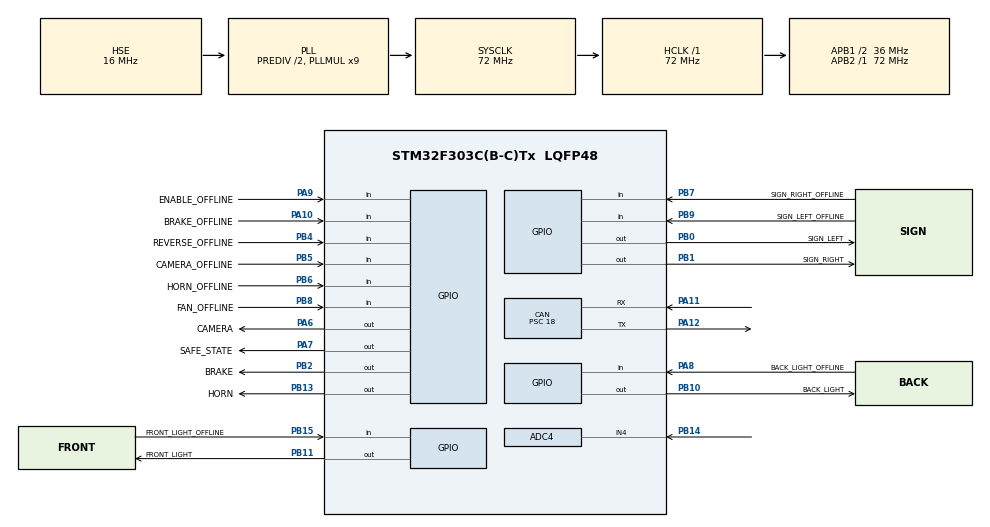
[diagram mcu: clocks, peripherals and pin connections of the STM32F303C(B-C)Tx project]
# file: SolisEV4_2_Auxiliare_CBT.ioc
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ADC4.Channel-0\#ChannelRegularConversion=ADC_CHANNEL_4
ADC4.NbrOfConversionFlag=1
ADC4.Offset-0\#ChannelRegularConversion=0
ADC4.OffsetNumber-0\#ChannelRegularConversion=ADC_OFFSET_NONE
ADC4.Rank-0\#ChannelRegularConversion=1
ADC4.SamplingTime-0\#ChannelRegularConversion=ADC_SAMPLETIME_1CYCLE_5
ADC4.SamplingTimeOPAMP-0\#ChannelRegularConversion=ADC_SAMPLETIME_19CYCLES_5
CAN.BS1=CAN_BS1_5TQ
CAN.BS2=CAN_BS2_2TQ
CAN.CalculateBaudRate=250000
CAN.CalculateTimeBit=4000
CAN.CalculateTimeQuantum=500.0
CAN.NART=ENABLE
CAN.Prescaler=18
Mcu.Family=STM32F3
Mcu.Name=STM32F303C(B-C)Tx
Mcu.Package=LQFP48
NVIC.PriorityGroup=NVIC_PRIORITYGROUP_4
NVIC.TIM2_IRQn=true\:0\:0\:false\:false\:true\:true\:true\:true
NVIC.TIM3_IRQn=true\:0\:0\:false\:false\:true\:true\:true\:true
NVIC.USB_LP_CAN_RX0_IRQn=true\:0\:0\:false\:false\:true\:true\:true\:true
PA10.GPIO_Label=BRAKE_OFFLINE
PA10.Signal=GPIO_Input
PA11.Mode=CAN_Activate
PA11.Signal=CAN_RX
PA12.Mode=CAN_Activate
PA12.Signal=CAN_TX
PA13.Mode=Serial_Wire
PA13.Signal=SYS_JTMS-SWDIO
PA14.Mode=Serial_Wire
PA14.Signal=SYS_JTCK-SWCLK
PA6.GPIO_Label=CAMERA
PA6.Signal=GPIO_Output
PA7.GPIO_Label=SAFE_STATE
PA7.Signal=GPIO_Output
PA8.GPIO_Label=BACK_LIGHT_OFFLINE
PA8.Signal=GPIO_Input
PA9.GPIO_Label=ENABLE_OFFLINE
PA9.Signal=GPIO_Input
PB0.GPIO_Label=SIGN_LEFT
PB0.Signal=GPIO_Output
PB0.Stacked=true
PB1.GPIO_Label=SIGN_RIGHT
PB1.Signal=GPIO_Output
PB1.Stacked=true
PB10.GPIO_Label=BACK_LIGHT
PB10.Signal=GPIO_Output
PB11.GPIO_Label=FRONT_LIGHT
PB11.Signal=GPIO_Output
PB13.GPIO_Label=HORN
PB13.Signal=GPIO_Output
PB14.Mode=IN4-Single-Ended
PB14.Signal=ADC4_IN4
PB15.GPIO_Label=FRONT_LIGHT_OFFLINE
PB15.Signal=GPIO_Input
PB2.GPIO_Label=BRAKE
PB2.Signal=GPIO_Output
PB4.GPIO_Label=REVERSE_OFFLINE
PB4.Signal=GPIO_Input
PB5.GPIO_Label=CAMERA_OFFLINE
PB5.Signal=GPIO_Input
PB6.GPIO_Label=HORN_OFFLINE
PB6.Signal=GPIO_Input
PB7.GPIO_Label=SIGN_RIGHT_OFFLINE
PB7.Signal=GPIO_Input
PB8.GPIO_Label=FAN_OFFLINE
PB8.Signal=GPIO_Input
PB9.GPIO_Label=SIGN_LEFT_OFFLINE
PB9.Signal=GPIO_Input
PF0-OSC_IN.Mode=HSE-External-Oscillator
PF0-OSC_IN.Signal=RCC_OSC_IN
PF1-OSC_OUT.Mode=HSE-External-Oscillator
PF1-OSC_OUT.Signal=RCC_OSC_OUT
ProjectManager.HeapSize=0x200
ProjectManager.StackSize=0x400
ProjectManager.TargetToolchain=STM32CubeIDE
RCC.AHBFreq_Value=72000000
RCC.APB1CLKDivider=RCC_HCLK_DIV2
RCC.APB1Freq_Value=36000000
RCC.APB1TimFreq_Value=72000000
RCC.APB2Freq_Value=72000000
RCC.APB2TimFreq_Value=72000000
RCC.CortexFreq_Value=72000000
RCC.HCLKFreq_Value=72000000
RCC.HSE_VALUE=16000000
RCC.HSI_VALUE=8000000
RCC.LSE_VALUE=32768
RCC.PLLMUL=RCC_PLL_MUL9
RCC.PLLSourceVirtual=RCC_PLLSOURCE_HSE
RCC.RCC_PLLsource_Clock_Source_FROM_HSE=RCC_HSE_PREDIV_DIV2
RCC.SYSCLKFreq_VALUE=72000000
RCC.SYSCLKSourceVirtual=RCC_SYSCLKSOURCE_PLLCLK
RCC.USBFreq_Value=72000000
TIM2.AutoReloadPreload=TIM_AUTORELOAD_PRELOAD_ENABLE
TIM2.Period=566
TIM2.Prescaler=7199
TIM3.Period=766
TIM3.Prescaler=7199
VP_TIM2_VS_ClockSourceINT.Mode=Internal
VP_TIM3_VS_ClockSourceINT.Mode=Internal
board=custom

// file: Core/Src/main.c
/* USER CODE BEGIN Header */
/**
  ******************************************************************************
  * @file           : main.c
  * @brief          : Main program body
  ******************************************************************************
  * @attention
  *
  * Copyright (c) 2024 STMicroelectronics.
  * All rights reserved.
  *
  * This software is licensed under terms that can be found in the LICENSE file
  * in the root directory of this software component.
  * If no LICENSE file comes with this software, it is provided AS-IS.
  *
  ******************************************************************************
  */
/* USER CODE END Header */
#include "main.h"

/* USER CODE BEGIN Includes */

#include "functions.h"

/* USER CODE END Includes */

ADC_HandleTypeDef hadc4;

CAN_HandleTypeDef hcan;

TIM_HandleTypeDef htim2;
TIM_HandleTypeDef htim3;

void SystemClock_Config(void);
static void MX_GPIO_Init(void);
static void MX_ADC4_Init(void);
static void MX_CAN_Init(void);
static void MX_TIM2_Init(void);
static void MX_TIM3_Init(void);

int main(void)
{

  /* MCU Configuration--------------------------------------------------------*/

  /* Reset of all peripherals, Initializes the Flash interface and the Systick. */
  HAL_Init();

  /* Configure the system clock */
  SystemClock_Config();

  /* Initialize all configured peripherals */
  MX_GPIO_Init();
  MX_ADC4_Init();
  MX_CAN_Init();
  MX_TIM2_Init();
  MX_TIM3_Init();
  /* USER CODE BEGIN 2 */

  	HAL_Delay(2000); //waiting for the other system configurations if needed

  	HAL_CAN_Start(&hcan);
  	HAL_TIM_Base_Start_IT(&htim2); //timer 2 -> connection with dashboard
  	HAL_TIM_Base_Start_IT(&htim3); //timer 3 -> connection with auxiliary systems

  	HAL_Delay(90);

  	HAL_CAN_ActivateNotification(&hcan, CAN_IT_RX_FIFO0_MSG_PENDING); //waiting message on FIFO0

  /* USER CODE END 2 */

  /* Infinite loop */
  while (1)
  {

  }
}

void SystemClock_Config(void)
{
  RCC_OscInitTypeDef RCC_OscInitStruct = {0};
  RCC_ClkInitTypeDef RCC_ClkInitStruct = {0};
  RCC_PeriphCLKInitTypeDef PeriphClkInit = {0};

  /** Initializes the RCC Oscillators according to the specified parameters
  * in the RCC_OscInitTypeDef structure.
  */
  RCC_OscInitStruct.OscillatorType = RCC_OSCILLATORTYPE_HSE;
  RCC_OscInitStruct.HSEState = RCC_HSE_ON;
  RCC_OscInitStruct.HSEPredivValue = RCC_HSE_PREDIV_DIV2;
  RCC_OscInitStruct.HSIState = RCC_HSI_ON;
  RCC_OscInitStruct.PLL.PLLState = RCC_PLL_ON;
  RCC_OscInitStruct.PLL.PLLSource = RCC_PLLSOURCE_HSE;
  RCC_OscInitStruct.PLL.PLLMUL = RCC_PLL_MUL9;
  if (HAL_RCC_OscConfig(&RCC_OscInitStruct) != HAL_OK)
  {
    Error_Handler();
  }

  /** Initializes the CPU, AHB and APB buses clocks
  */
  RCC_ClkInitStruct.ClockType = RCC_CLOCKTYPE_HCLK|RCC_CLOCKTYPE_SYSCLK
                              |RCC_CLOCKTYPE_PCLK1|RCC_CLOCKTYPE_PCLK2;
  RCC_ClkInitStruct.SYSCLKSource = RCC_SYSCLKSOURCE_PLLCLK;
  RCC_ClkInitStruct.AHBCLKDivider = RCC_SYSCLK_DIV1;
  RCC_ClkInitStruct.APB1CLKDivider = RCC_HCLK_DIV2;
  RCC_ClkInitStruct.APB2CLKDivider = RCC_HCLK_DIV1;

  if (HAL_RCC_ClockConfig(&RCC_ClkInitStruct, FLASH_LATENCY_2) != HAL_OK)
  {
    Error_Handler();
  }
  PeriphClkInit.PeriphClockSelection = RCC_PERIPHCLK_ADC34;
  PeriphClkInit.Adc34ClockSelection = RCC_ADC34PLLCLK_DIV1;
  if (HAL_RCCEx_PeriphCLKConfig(&PeriphClkInit) != HAL_OK)
  {
    Error_Handler();
  }
}

static void MX_ADC4_Init(void)
{

  ADC_ChannelConfTypeDef sConfig = {0};

  /** Common config
  */
  hadc4.Instance = ADC4;
  hadc4.Init.ClockPrescaler = ADC_CLOCK_ASYNC_DIV1;
  hadc4.Init.Resolution = ADC_RESOLUTION_12B;
  hadc4.Init.ScanConvMode = ADC_SCAN_DISABLE;
  hadc4.Init.ContinuousConvMode = DISABLE;
  hadc4.Init.DiscontinuousConvMode = DISABLE;
  hadc4.Init.ExternalTrigConvEdge = ADC_EXTERNALTRIGCONVEDGE_NONE;
  hadc4.Init.ExternalTrigConv = ADC_SOFTWARE_START;
  hadc4.Init.DataAlign = ADC_DATAALIGN_RIGHT;
  hadc4.Init.NbrOfConversion = 1;
  hadc4.Init.DMAContinuousRequests = DISABLE;
  hadc4.Init.EOCSelection = ADC_EOC_SINGLE_CONV;
  hadc4.Init.LowPowerAutoWait = DISABLE;
  hadc4.Init.Overrun = ADC_OVR_DATA_OVERWRITTEN;
  if (HAL_ADC_Init(&hadc4) != HAL_OK)
  {
    Error_Handler();
  }

  /** Configure Regular Channel
  */
  sConfig.Channel = ADC_CHANNEL_4;
  sConfig.Rank = ADC_REGULAR_RANK_1;
  sConfig.SingleDiff = ADC_SINGLE_ENDED;
  sConfig.SamplingTime = ADC_SAMPLETIME_1CYCLE_5;
  sConfig.OffsetNumber = ADC_OFFSET_NONE;
  sConfig.Offset = 0;
  if (HAL_ADC_ConfigChannel(&hadc4, &sConfig) != HAL_OK)
  {
    Error_Handler();
  }

}

static void MX_CAN_Init(void)
{

  hcan.Instance = CAN;
  hcan.Init.Prescaler = 18;
  hcan.Init.Mode = CAN_MODE_NORMAL;
  hcan.Init.SyncJumpWidth = CAN_SJW_1TQ;
  hcan.Init.TimeSeg1 = CAN_BS1_5TQ;
  hcan.Init.TimeSeg2 = CAN_BS2_2TQ;
  hcan.Init.TimeTriggeredMode = DISABLE;
  hcan.Init.AutoBusOff = DISABLE;
  hcan.Init.AutoWakeUp = DISABLE;
  hcan.Init.AutoRetransmission = ENABLE;
  hcan.Init.ReceiveFifoLocked = DISABLE;
  hcan.Init.TransmitFifoPriority = DISABLE;
  if (HAL_CAN_Init(&hcan) != HAL_OK)
  {
    Error_Handler();
  }
  /* USER CODE BEGIN CAN_Init 2 */

	//Filter configuration
	CAN_FilterTypeDef filterConfig;

	/*
	 * Configure CAN filter such that the MCU accepts
	 * only messages from dashboard
	 */
	filterConfig.FilterActivation = CAN_FILTER_ENABLE;
	filterConfig.FilterBank = 10;
	filterConfig.FilterFIFOAssignment = CAN_RX_FIFO0;
	filterConfig.FilterIdHigh = DASHBOARD_ID << 5;
	filterConfig.FilterIdLow = 0x0000;
	filterConfig.FilterMaskIdHigh = DASHBOARD_ID << 5;
	filterConfig.FilterMaskIdLow = 0x0000;
	filterConfig.FilterMode = CAN_FILTERMODE_IDMASK;
	filterConfig.FilterScale = CAN_FILTERSCALE_32BIT;
	filterConfig.SlaveStartFilterBank = 0;

	HAL_CAN_ConfigFilter(&hcan, &filterConfig);

  /* USER CODE END CAN_Init 2 */

}

static void MX_TIM2_Init(void)
{

  TIM_ClockConfigTypeDef sClockSourceConfig = {0};
  TIM_MasterConfigTypeDef sMasterConfig = {0};

  htim2.Instance = TIM2;
  htim2.Init.Prescaler = 7199;
  htim2.Init.CounterMode = TIM_COUNTERMODE_UP;
  htim2.Init.Period = 566;
  htim2.Init.ClockDivision = TIM_CLOCKDIVISION_DIV1;
  htim2.Init.AutoReloadPreload = TIM_AUTORELOAD_PRELOAD_ENABLE;
  if (HAL_TIM_Base_Init(&htim2) != HAL_OK)
  {
    Error_Handler();
  }
  sClockSourceConfig.ClockSource = TIM_CLOCKSOURCE_INTERNAL;
  if (HAL_TIM_ConfigClockSource(&htim2, &sClockSourceConfig) != HAL_OK)
  {
    Error_Handler();
  }
  sMasterConfig.MasterOutputTrigger = TIM_TRGO_RESET;
  sMasterConfig.MasterSlaveMode = TIM_MASTERSLAVEMODE_DISABLE;
  if (HAL_TIMEx_MasterConfigSynchronization(&htim2, &sMasterConfig) != HAL_OK)
  {
    Error_Handler();
  }

}

static void MX_TIM3_Init(void)
{

  TIM_ClockConfigTypeDef sClockSourceConfig = {0};
  TIM_MasterConfigTypeDef sMasterConfig = {0};

  htim3.Instance = TIM3;
  htim3.Init.Prescaler = 7199;
  htim3.Init.CounterMode = TIM_COUNTERMODE_UP;
  htim3.Init.Period = 766;
  htim3.Init.ClockDivision = TIM_CLOCKDIVISION_DIV1;
  htim3.Init.AutoReloadPreload = TIM_AUTORELOAD_PRELOAD_DISABLE;
  if (HAL_TIM_Base_Init(&htim3) != HAL_OK)
  {
    Error_Handler();
  }
  sClockSourceConfig.ClockSource = TIM_CLOCKSOURCE_INTERNAL;
  if (HAL_TIM_ConfigClockSource(&htim3, &sClockSourceConfig) != HAL_OK)
  {
    Error_Handler();
  }
  sMasterConfig.MasterOutputTrigger = TIM_TRGO_RESET;
  sMasterConfig.MasterSlaveMode = TIM_MASTERSLAVEMODE_DISABLE;
  if (HAL_TIMEx_MasterConfigSynchronization(&htim3, &sMasterConfig) != HAL_OK)
  {
    Error_Handler();
  }

}

static void MX_GPIO_Init(void)
{
  GPIO_InitTypeDef GPIO_InitStruct = {0};

  /* GPIO Ports Clock Enable */
  __HAL_RCC_GPIOF_CLK_ENABLE();
  __HAL_RCC_GPIOA_CLK_ENABLE();
  __HAL_RCC_GPIOB_CLK_ENABLE();

  /*Configure GPIO pin Output Level */
  HAL_GPIO_WritePin(GPIOA, CAMERA_Pin|SAFE_STATE_Pin, GPIO_PIN_RESET);

  /*Configure GPIO pin Output Level */
  HAL_GPIO_WritePin(GPIOB, SIGN_LEFT_Pin|SIGN_RIGHT_Pin|BRAKE_Pin|BACK_LIGHT_Pin
                          |FRONT_LIGHT_Pin|HORN_Pin, GPIO_PIN_RESET);

  /*Configure GPIO pins : CAMERA_Pin SAFE_STATE_Pin */
  GPIO_InitStruct.Pin = CAMERA_Pin|SAFE_STATE_Pin;
  GPIO_InitStruct.Mode = GPIO_MODE_OUTPUT_PP;
  GPIO_InitStruct.Pull = GPIO_NOPULL;
  GPIO_InitStruct.Speed = GPIO_SPEED_FREQ_LOW;
  HAL_GPIO_Init(GPIOA, &GPIO_InitStruct);

  /*Configure GPIO pins : SIGN_LEFT_Pin SIGN_RIGHT_Pin BRAKE_Pin BACK_LIGHT_Pin
                           FRONT_LIGHT_Pin HORN_Pin */
  GPIO_InitStruct.Pin = SIGN_LEFT_Pin|SIGN_RIGHT_Pin|BRAKE_Pin|BACK_LIGHT_Pin
                          |FRONT_LIGHT_Pin|HORN_Pin;
  GPIO_InitStruct.Mode = GPIO_MODE_OUTPUT_PP;
  GPIO_InitStruct.Pull = GPIO_NOPULL;
  GPIO_InitStruct.Speed = GPIO_SPEED_FREQ_LOW;
  HAL_GPIO_Init(GPIOB, &GPIO_InitStruct);

  /*Configure GPIO pins : FRONT_LIGHT_OFFLINE_Pin REVERSE_OFFLINE_Pin CAMERA_OFFLINE_Pin HORN_OFFLINE_Pin
                           SIGN_RIGHT_OFFLINE_Pin FAN_OFFLINE_Pin SIGN_LEFT_OFFLINE_Pin */
  GPIO_InitStruct.Pin = FRONT_LIGHT_OFFLINE_Pin|REVERSE_OFFLINE_Pin|CAMERA_OFFLINE_Pin|HORN_OFFLINE_Pin
                          |SIGN_RIGHT_OFFLINE_Pin|FAN_OFFLINE_Pin|SIGN_LEFT_OFFLINE_Pin;
  GPIO_InitStruct.Mode = GPIO_MODE_INPUT;
  GPIO_InitStruct.Pull = GPIO_NOPULL;
  HAL_GPIO_Init(GPIOB, &GPIO_InitStruct);

  /*Configure GPIO pins : BACK_LIGHT_OFFLINE_Pin ENABLE_OFFLINE_Pin BRAKE_OFFLINE_Pin */
  GPIO_InitStruct.Pin = BACK_LIGHT_OFFLINE_Pin|ENABLE_OFFLINE_Pin|BRAKE_OFFLINE_Pin;
  GPIO_InitStruct.Mode = GPIO_MODE_INPUT;
  GPIO_InitStruct.Pull = GPIO_NOPULL;
  HAL_GPIO_Init(GPIOA, &GPIO_InitStruct);

}

void Error_Handler(void)
{
  __disable_irq();
  while (1)
  {
  }
}
